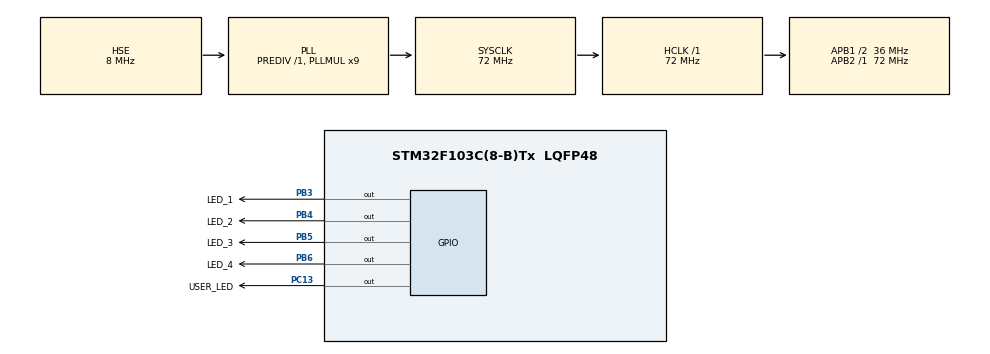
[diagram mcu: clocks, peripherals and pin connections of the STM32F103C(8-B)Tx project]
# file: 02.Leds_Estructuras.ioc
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Mcu.Family=STM32F1
Mcu.Name=STM32F103C(8-B)Tx
Mcu.Package=LQFP48
NVIC.PriorityGroup=NVIC_PRIORITYGROUP_4
PB3.GPIO_Label=LED_1
PB3.Signal=GPIO_Output
PB4.GPIO_Label=LED_2
PB4.Signal=GPIO_Output
PB5.GPIO_Label=LED_3
PB5.Signal=GPIO_Output
PB6.GPIO_Label=LED_4
PB6.Signal=GPIO_Output
PC13-TAMPER-RTC.GPIO_Label=USER_LED
PC13-TAMPER-RTC.PinState=GPIO_PIN_SET
PC13-TAMPER-RTC.Signal=GPIO_Output
PD0-OSC_IN.Mode=HSE-External-Oscillator
PD0-OSC_IN.Signal=RCC_OSC_IN
PD1-OSC_OUT.Mode=HSE-External-Oscillator
PD1-OSC_OUT.Signal=RCC_OSC_OUT
ProjectManager.HeapSize=0x200
ProjectManager.StackSize=0x400
ProjectManager.TargetToolchain=STM32CubeIDE
RCC.AHBFreq_Value=72000000
RCC.APB1CLKDivider=RCC_HCLK_DIV2
RCC.APB1Freq_Value=36000000
RCC.APB1TimFreq_Value=72000000
RCC.APB2Freq_Value=72000000
RCC.APB2TimFreq_Value=72000000
RCC.HCLKFreq_Value=72000000
RCC.PLLMUL=RCC_PLL_MUL9
RCC.PLLSourceVirtual=RCC_PLLSOURCE_HSE
RCC.SYSCLKFreq_VALUE=72000000
RCC.SYSCLKSource=RCC_SYSCLKSOURCE_PLLCLK
RCC.USBFreq_Value=72000000
VP_SYS_VS_ND.Mode=No_Debug
board=custom

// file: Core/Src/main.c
/* USER CODE BEGIN Header */
/**
 ******************************************************************************
 * @file           : main.c
 * @brief          : Main program body
 ******************************************************************************
 * @attention
 *
 * Copyright (c) 2026 STMicroelectronics.
 * All rights reserved.
 *
 * This software is licensed under terms that can be found in the LICENSE file
 * in the root directory of this software component.
 * If no LICENSE file comes with this software, it is provided AS-IS.
 *
 ******************************************************************************
 */
/* USER CODE END Header */
#include "main.h"

/* USER CODE BEGIN PTD */

/* Estructura para mapeo y estado de un pin de salida / LED */
typedef struct {
	GPIO_TypeDef *port;
	uint16_t      pin;
	GPIO_PinState estado_activo; /* GPIO_PIN_SET (activo alto) o GPIO_PIN_RESET (activo bajo) */
} OutputPin_t;

/* USER CODE END PTD */

/* USER CODE BEGIN PM */
/* Instancias individuales */
OutputPin_t led_rojo = {LED_1_GPIO_Port, LED_1_Pin,  GPIO_PIN_SET};   /* Activo en ALTO */
OutputPin_t led_blanco  = {LED_2_GPIO_Port, LED_2_Pin,  GPIO_PIN_SET};   /* Activo en ALTO */
OutputPin_t led_amarillo  = {LED_3_GPIO_Port, LED_3_Pin, GPIO_PIN_SET}; /* Activo en ALTO */
OutputPin_t led_azul  = {LED_4_GPIO_Port, LED_4_Pin, GPIO_PIN_SET}; /* Activo en ALTO */

/* Arreglo de salidas para control secuencial o indexado */
OutputPin_t leds[] = {
		{LED_1_GPIO_Port, LED_1_Pin,  GPIO_PIN_SET},
		{LED_2_GPIO_Port, LED_2_Pin,  GPIO_PIN_SET},
		{LED_3_GPIO_Port, LED_3_Pin,  GPIO_PIN_SET},
		{LED_4_GPIO_Port, LED_4_Pin,  GPIO_PIN_SET}
};

#define NUM_LEDS (sizeof(leds) / sizeof(leds[0]))
/* USER CODE END PM */

void SystemClock_Config(void);
static void MX_GPIO_Init(void);

int main(void)
{

	/* MCU Configuration--------------------------------------------------------*/

	/* Reset of all peripherals, Initializes the Flash interface and the Systick. */
	HAL_Init();

	/* Configure the system clock */
	SystemClock_Config();

	/* Initialize all configured peripherals */
	MX_GPIO_Init();
	/* USER CODE BEGIN 2 */

	/* Inicialización: Apagar todos los LEDs evaluando su nivel activo */
	for (uint8_t i = 0; i < NUM_LEDS; i++)
	{
		GPIO_PinState off_state = (leds[i].estado_activo == GPIO_PIN_SET) ? GPIO_PIN_RESET : GPIO_PIN_SET;
		HAL_GPIO_WritePin(leds[i].port, leds[i].pin, off_state);
	}

	/* USER CODE END 2 */

	/* Infinite loop */
	while (1)
	{

		/* USER CODE BEGIN 3 */
		/* TAREA A: Parpadeo pretendido del LED Rojo a 1 Hz (500ms ON / 500ms OFF) */
		    HAL_GPIO_WritePin(led_rojo.port, led_rojo.pin, led_rojo.estado_activo);
		    HAL_Delay(500); /* CPU CONGELADA 500ms */

		    HAL_GPIO_WritePin(led_rojo.port, led_rojo.pin, (GPIO_PinState)!led_rojo.estado_activo);
		    HAL_Delay(500); /* CPU CONGELADA otros 500ms */

		    /* TAREA B: Recorrido por arreglo (Se supone que debería ser independiente) */
		    /* ¡PROBLEMA! Esta secuencia no parpadea a 500ms, sino que espera 1000ms extra
		       debido a las esperas del LED rojo anteriores */
		    for (uint8_t i = 1; i < NUM_LEDS; i++)
		    {
		        HAL_GPIO_TogglePin(leds[i].port, leds[i].pin);
		    }
		    HAL_Delay(500); /* CPU CONGELADA otros 500ms -> Tiempo total del bucle: 1500ms */
	}
	/* USER CODE END 3 */
}

void SystemClock_Config(void)
{
	RCC_OscInitTypeDef RCC_OscInitStruct = {0};
	RCC_ClkInitTypeDef RCC_ClkInitStruct = {0};

	/** Initializes the RCC Oscillators according to the specified parameters
	 * in the RCC_OscInitTypeDef structure.
	 */
	RCC_OscInitStruct.OscillatorType = RCC_OSCILLATORTYPE_HSE;
	RCC_OscInitStruct.HSEState = RCC_HSE_ON;
	RCC_OscInitStruct.HSEPredivValue = RCC_HSE_PREDIV_DIV1;
	RCC_OscInitStruct.HSIState = RCC_HSI_ON;
	RCC_OscInitStruct.PLL.PLLState = RCC_PLL_ON;
	RCC_OscInitStruct.PLL.PLLSource = RCC_PLLSOURCE_HSE;
	RCC_OscInitStruct.PLL.PLLMUL = RCC_PLL_MUL9;
	if (HAL_RCC_OscConfig(&RCC_OscInitStruct) != HAL_OK)
	{
		Error_Handler();
	}

	/** Initializes the CPU, AHB and APB buses clocks
	 */
	RCC_ClkInitStruct.ClockType = RCC_CLOCKTYPE_HCLK|RCC_CLOCKTYPE_SYSCLK
			|RCC_CLOCKTYPE_PCLK1|RCC_CLOCKTYPE_PCLK2;
	RCC_ClkInitStruct.SYSCLKSource = RCC_SYSCLKSOURCE_PLLCLK;
	RCC_ClkInitStruct.AHBCLKDivider = RCC_SYSCLK_DIV1;
	RCC_ClkInitStruct.APB1CLKDivider = RCC_HCLK_DIV2;
	RCC_ClkInitStruct.APB2CLKDivider = RCC_HCLK_DIV1;

	if (HAL_RCC_ClockConfig(&RCC_ClkInitStruct, FLASH_LATENCY_2) != HAL_OK)
	{
		Error_Handler();
	}
}

static void MX_GPIO_Init(void)
{
	GPIO_InitTypeDef GPIO_InitStruct = {0};

	/* GPIO Ports Clock Enable */
	__HAL_RCC_GPIOC_CLK_ENABLE();
	__HAL_RCC_GPIOD_CLK_ENABLE();
	__HAL_RCC_GPIOB_CLK_ENABLE();

	/*Configure GPIO pin Output Level */
	HAL_GPIO_WritePin(USER_LED_GPIO_Port, USER_LED_Pin, GPIO_PIN_SET);

	/*Configure GPIO pin Output Level */
	HAL_GPIO_WritePin(GPIOB, LED_1_Pin|LED_2_Pin|LED_3_Pin|LED_4_Pin, GPIO_PIN_RESET);

	/*Configure GPIO pin : USER_LED_Pin */
	GPIO_InitStruct.Pin = USER_LED_Pin;
	GPIO_InitStruct.Mode = GPIO_MODE_OUTPUT_PP;
	GPIO_InitStruct.Pull = GPIO_NOPULL;
	GPIO_InitStruct.Speed = GPIO_SPEED_FREQ_LOW;
	HAL_GPIO_Init(USER_LED_GPIO_Port, &GPIO_InitStruct);

	/*Configure GPIO pins : LED_1_Pin LED_2_Pin LED_3_Pin LED_4_Pin */
	GPIO_InitStruct.Pin = LED_1_Pin|LED_2_Pin|LED_3_Pin|LED_4_Pin;
	GPIO_InitStruct.Mode = GPIO_MODE_OUTPUT_PP;
	GPIO_InitStruct.Pull = GPIO_NOPULL;
	GPIO_InitStruct.Speed = GPIO_SPEED_FREQ_LOW;
	HAL_GPIO_Init(GPIOB, &GPIO_InitStruct);

}

void Error_Handler(void)
{
	__disable_irq();
	while (1)
	{
	}
}
